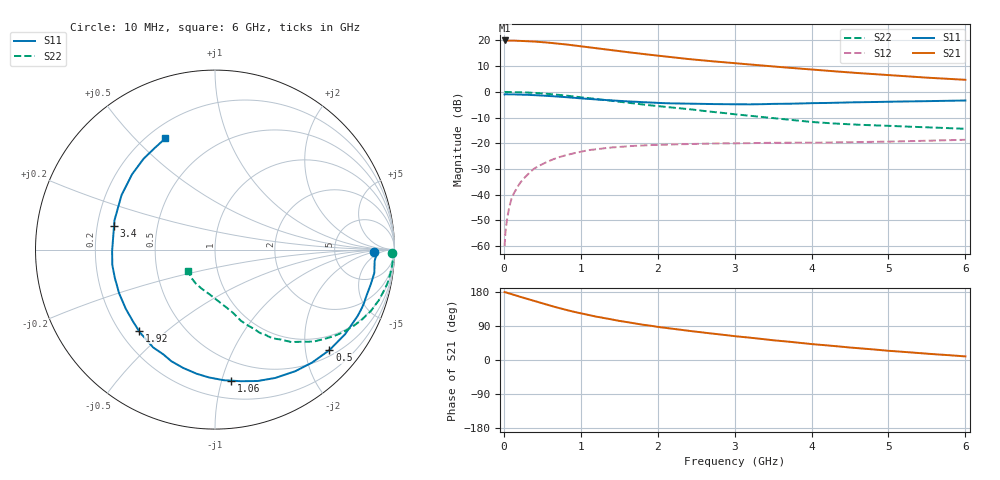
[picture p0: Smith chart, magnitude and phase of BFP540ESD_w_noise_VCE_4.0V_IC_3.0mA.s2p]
! Infineon Technologies  Discrete & RF Semiconductors
! BFP540ESD
! VCE =  4.0 V,  IC =  3.0 mA
! Common Emitter S-Parameters:  Nov 2015
# GHz  S  MA  R  50
!  f  S11  S21  S12  S22
! GHz  MAG  ANG  MAG  ANG  MAG  ANG  MAG  ANG
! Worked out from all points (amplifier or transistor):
!   210 points, 10 MHz to 6 GHz, reference 50 ohm
!   highest |S21| = 20.0 dB at 10 MHz (marker M1)
!   |S21| within 3 dB of that: start of sweep to 1.195 GHz
!   unconditionally stable (mu >= 1): 3.771 GHz to end of sweep
!   at 185 MHz: K = 0.04, MSG = 28.2 dB, |S12| = -36.6 dB
!   at 1.52 GHz: K = 0.34, MSG = 18.6 dB, |S12| = -21.4 dB
!   at 6 GHz: K = 1.31, MAG = 8.3 dB, |S12| = -18.6 dB
!   lowest NFmin = 0.63 dB at 900 MHz
!   S11 on the Smith chart (normalised r, x): 10 MHz: 17, -2; 500 MHz: 0.63, -2.52; 1.06 GHz: 0.34, -1.07; 1.92 GHz: 0.28, -0.40; 3.4 GHz: 0.27, +0.11; 6 GHz: 0.27, +0.62
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0.01  0.8885 -0.7  9.972 179.1  0.001 77.0  0.9837 -1.1
0.02  0.8994 -2.0  9.969 178.8  0.0018 79.0  0.9949 -0.9
0.04  0.8941 -3.4  9.919 177.5  0.0032 79.3  0.994 -1.8
0.115  0.8943 -9.5  9.902 172.9  0.0095 83.7  0.9908 -5.0
0.3  0.8767 -24.9  9.669 161.4  0.0238 77.9  0.9717 -13.0
0.5  0.8486 -41.3  9.3 149.2  0.0393 69.6  0.933 -21.5
0.6  0.8298 -49.4  8.977 143.2  0.046 66.1  0.9074 -25.4
0.8  0.7898 -64.9  8.381 132.7  0.0584 58.9  0.8487 -32.9
0.9  0.7698 -72.0  8.036 127.6  0.0635 54.7  0.8176 -36.2
1.02  0.7432 -80.1  7.63 122.3  0.0694 50.9  0.7799 -39.9
1.06  0.7354 -83.1  7.503 120.5  0.0715 49.5  0.7673 -41.2
1.2  0.7131 -92.7  7.045 114.5  0.0764 45.3  0.7253 -45.1
1.5  0.6679 -111.3  6.198 103.2  0.0848 38.0  0.6417 -52.3
1.8  0.6303 -127.7  5.457 93.3  0.0902 31.9  0.5702 -58.3
1.92  0.6199 -133.2  5.222 90.1  0.0926 30.2  0.5436 -60.1
2.02  0.6078 -138.6  5.027 86.9  0.0934 28.5  0.5257 -61.7
2.58  0.5802 -163.1  4.089 72.7  0.098 21.7  0.4273 -69.5
3.1  0.5712 177.3  3.489 61.0  0.1001 17.9  0.3544 -75.4
3.4  0.5773 167.0  3.202 54.5  0.1018 16.0  0.3187 -80.4
4.1  0.6047 147.3  2.645 40.4  0.1029 12.9  0.2534 -96.1
5.1  0.6459 126.6  2.069 22.9  0.1084 11.2  0.2152 -120.9
6  0.6789 114.0  1.714 9.5  0.117 11.1  0.1914 -141.0
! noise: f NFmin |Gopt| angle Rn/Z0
0.9  0.63  0.27  45  0.15
1.8  0.89  0.21  92  0.13
2.4  0.92  0.26  109  0.1
3  1.12  0.29  144  0.09
4  1.37  0.29  -141  0.15
5  1.69  0.42  -108  0.35
6  1.9  0.55  -106  0.52
